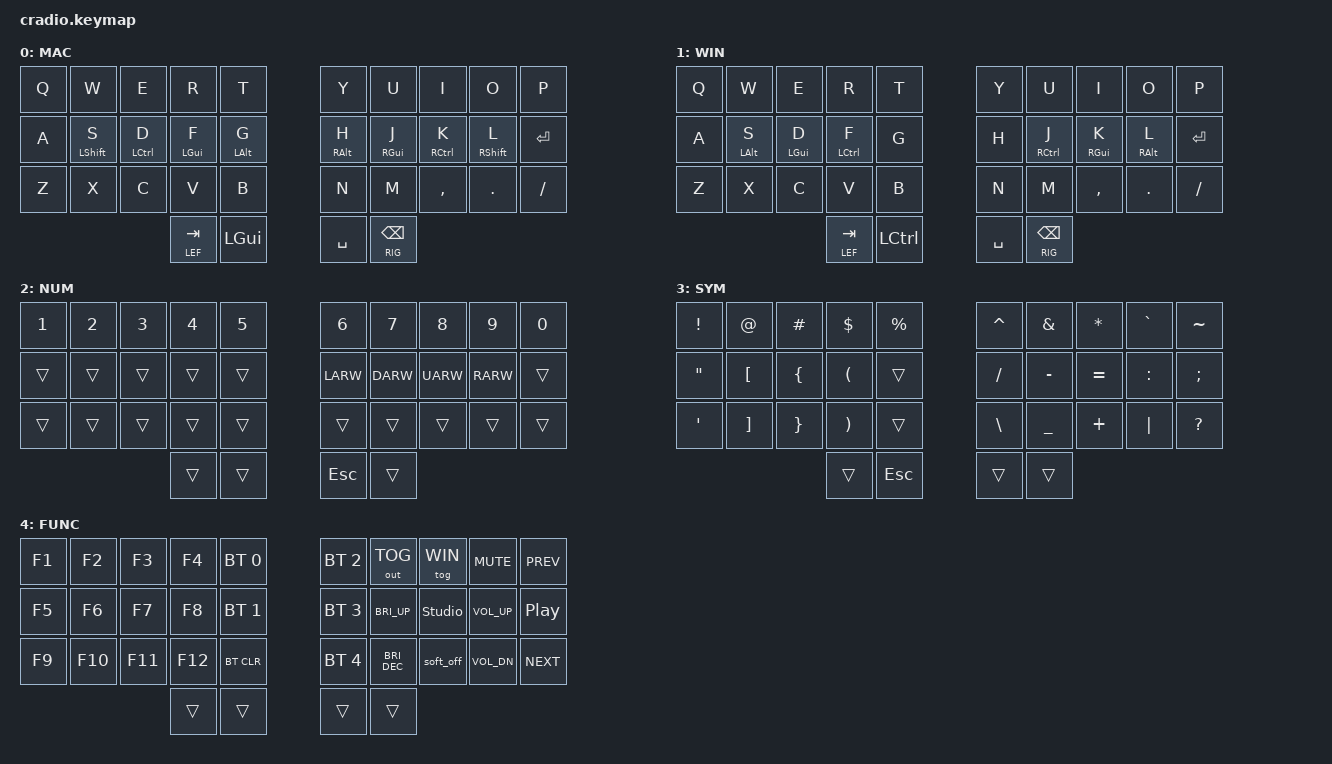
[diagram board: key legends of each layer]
// Copyright (c) 2022 The ZMK Contributors
// SPDX-License-Identifier: MIT

#include <behaviors.dtsi>
#include <dt-bindings/zmk/bt.h>
#include <dt-bindings/zmk/keys.h>
#include <dt-bindings/zmk/outputs.h>

#define MAC 0
#define WIN 1
#define LEF 2
#define RIG 3
#define TRI 4


// https://zmk.dev/docs/development/hardware-integration/soft-off-setup?advanced-methods=wakeup&kscan-type=dkscan
/ {
    keys {
        compatible = "gpio-keys";
        soft_off_gpio_key: soft_off_gpio_key {
            gpios = <&gpio1 6 (GPIO_ACTIVE_LOW | GPIO_PULL_UP)>;
        };
    };
    wakeup_scan: wakeup_scan {
        compatible = "zmk,kscan-gpio-direct";
        input-keys = <&soft_off_gpio_key>;
        wakeup-source;
    };
    side_band_behavior_triggers: side_band_behavior_triggers {
        compatible = "zmk,kscan-sideband-behaviors";
        kscan = <&wakeup_scan>;
        auto-enable;
        wakeup-source;
    };
    soft_off_wakers {
        compatible = "zmk,soft-off-wakeup-sources";
        wakeup-sources = <&wakeup_scan>;
    };
};

/ {
    chosen {
        zmk,charmap = &charmap_us;
    };
    behaviors {
        ht: hold_tap {
            display-name = "hold_tap";
            compatible = "zmk,behavior-hold-tap";
            #binding-cells = <2>;
            flavor = "balanced";
            tapping-term-ms = <200>;
            quick-tap-ms = <150>;
            bindings = <&kp>, <&kp>;
        };
        mmv {
            acceleration-exponent = <1>;      // 1
            time-to-max-speed-ms = <300>;     // 40
            delay-ms = <0>;                   // 0
        };
        msc {
            acceleration-exponent = <0>;      // 0
            time-to-max-speed-ms = <40>;      // 500
            delay-ms = <0>;                   // 10
        };
    };

    conditional_layers {
        compatible = "zmk,conditional-layers";

        tri_layer {
            if-layers = <RIG LEF>;
            then-layer = <TRI>;
        };
    };

    keymap {
        compatible = "zmk,keymap";

        default_layer {
            display-name = "MAC";
            bindings = <
        //╭──────────┬──────────┬──────────┬──────────┬──────────╮   ╭──────────┬──────────┬──────────┬──────────┬──────────╮
        //│    Q     │    W     │    E     │    R     │    T     │   │    Y     │    U     │    I     │    O     │    P     │
             &kp Q      &kp W      &kp E      &kp R      &kp T          &kp Y      &kp U      &kp I      &kp O      &kp P
        //├──────────┼──────────┼──────────┼──────────┼──────────┤   ├──────────┼──────────┼──────────┼──────────┼──────────┤
        //│    A     │    S     │    D     │    F     │    G     │   │    H     │    J     │    K     │    L     │  ENTER   │
            &kp A   &ht LSHIFT S &ht LCTRL D &ht LGUI F &ht LALT G   &ht RALT H  &ht RGUI J &ht RCTRL K &ht RSHIFT L &kp ENTER
        //├──────────┼──────────┼──────────┼──────────┼──────────┤   ├──────────┼──────────┼──────────┼──────────┼──────────┤
        //│    Z     │    X     │    C     │    V     │    B     │   │    N     │    M     │   , <    │   . >    │    /     │
             &kp Z      &kp X      &kp C      &kp V      &kp B          &kp N      &kp M      &kp COMMA  &kp DOT   &kp FSLH
        //╰──────────┴──────────┴──────────┼──────────┼──────────┤   ├──────────┼──────────┼──────────┴──────────┴──────────╯
                                           &lt LEF TAB  &kp LGUI     &kp SPACE  &lt RIG BSPC
        //                                 ╰──────────┴──────────╯   ╰──────────┴──────────╯
            >;
        };

        windows_layer {
            display-name = "WIN";
            bindings = <
        //╭──────────┬──────────┬──────────┬──────────┬──────────╮   ╭──────────┬──────────┬──────────┬──────────┬──────────╮
        //│    Q     │    W     │    E     │    R     │    T     │   │    Y     │    U     │    I     │    O     │    P     │
             &kp Q      &kp W      &kp E      &kp R      &kp T          &kp Y      &kp U      &kp I      &kp O      &kp P
        //├──────────┼──────────┼──────────┼──────────┼──────────┤   ├──────────┼──────────┼──────────┼──────────┼──────────┤
        //│    A     │    S     │    D     │    F     │    G     │   │    H     │    J     │    K     │    L     │  ENTER   │
             &kp A    &ht LALT S &ht LGUI D &ht LCTRL F  &kp G          &kp H   &ht RCTRL J &ht RGUI K &ht RALT L  &kp ENTER
        //├──────────┼──────────┼──────────┼──────────┼──────────┤   ├──────────┼──────────┼──────────┼──────────┼──────────┤
        //│    Z     │    X     │    C     │    V     │    B     │   │    N     │    M     │   , <    │   . >    │     /    │
             &kp Z      &kp X      &kp C      &kp V      &kp B          &kp N      &kp M      &kp COMMA  &kp DOT   &kp FSLH
        //╰──────────┴──────────┴──────────┼──────────┼──────────┤   ├──────────┼──────────┼──────────┴──────────┴──────────╯
                                           &lt LEF TAB &kp LCTRL     &kp SPACE  &lt RIG BSPC
        //                                 ╰──────────┴──────────╯   ╰──────────┴──────────╯
            >;
        };

        left_layer {
            display-name = "NUM";
            bindings = <
        //╭──────────┬──────────┬──────────┬──────────┬──────────╮   ╭──────────┬──────────┬──────────┬──────────┬──────────╮
        //│    1     │    2     │    3     │    4     │    5     │   │    6     │    7     │    8     │    9     │    0     │
            &kp N1      &kp N2     &kp N3     &kp N4     &kp N5        &kp N6     &kp N7     &kp N8     &kp N9      &kp N0
        //├──────────┼──────────┼──────────┼──────────┼──────────┤   ├──────────┼──────────┼──────────┼──────────┼──────────┤
        //│          │          │          │          │          │   │   LEFT   │   DOWN   │    UP    │  RIGHT   │          │
            &trans      &trans     &trans     &trans     &trans        &kp LARW   &kp DARW   &kp UARW   &kp RARW    &trans
        //├──────────┼──────────┼──────────┼──────────┼──────────┤   ├──────────┼──────────┼──────────┼──────────┼──────────┤
        //│          │          │          │          │          │   │          │          │          │          │          │
            &trans      &trans     &trans     &trans     &trans        &trans     &trans     &trans     &trans     &trans
        //╰──────────┴──────────┴──────────┼──────────┼──────────┤   ├──────────┼──────────┼──────────┴──────────┴──────────╯
                                             &trans      &trans        &kp ESC    &trans
        //                                 ╰──────────┴──────────╯   ╰──────────┴──────────╯
            >;
        };

        right_layer {
            display-name = "SYM";
            bindings = <
        //╭──────────┬──────────┬──────────┬──────────┬──────────╮   ╭──────────┬──────────┬──────────┬──────────┬──────────╮
        //│    !     │    @     │    #     │    $     │    %     │   │    ^     │    &     │    *     │    `     │    ~     │
             &kp EXCL   &kp AT    &kp HASH   &kp DLLR   &kp PRCNT      &kp CARET  &kp AMPS  &kp ASTRK  &kp GRAVE  &kp TILDE
        //├──────────┼──────────┼──────────┼──────────┼──────────┤   ├──────────┼──────────┼──────────┼──────────┼──────────┤
        //│    "     │    [     │    {     │    (     │          │   │    /     │    -     │    =     │    :     │    ;     │
            &kp DQT    &kp LBKT   &kp LBRC   &kp LPAR   &trans        &kp FSLH   &kp MINUS  &kp EQUAL  &kp COLON  &kp SEMI
        //├──────────┼──────────┼──────────┼──────────┼──────────┤   ├──────────┼──────────┼──────────┼──────────┼──────────┤
        //│    '     │    ]     │    }     │    )     │          │   │    \     │    _     │    +     │    |     │    ?     │
            &kp SQT   &kp RBKT    &kp RBRC   &kp RPAR   &trans        &kp BSLH   &kp UNDER  &kp PLUS   &kp PIPE   &kp QMARK
        //╰──────────┴──────────┴──────────┼──────────┼──────────┤   ├──────────┼──────────┼──────────┴──────────┴──────────╯
                                              &trans    &kp ESC        &trans      &trans
        //                                 ╰──────────┴──────────╯   ╰──────────┴──────────╯
            >;
        };

        tri_layer {
            display-name = "FUNC";
            bindings = <
        //╭──────────┬──────────┬──────────┬───────────┬────────────╮   ╭────────────┬────────────┬──────────┬───────────┬──────────╮
        //│    F1    │    F2    │    F3    │    F4     │ PROFILE 0  │   │ PROFILE 2  │ TOGGLEOUT  │ WINDOWS  │ VOL MUTE  │ PREVSONG │
            &kp F1     &kp F2     &kp F3     &kp F4     &bt BT_SEL 0    &bt BT_SEL 2  &out OUT_TOG &tog WIN  &kp C_MUTE  &kp C_PREV
        //├──────────┼──────────┼──────────┼───────────┼────────────┤   ├────────────┼────────────┼──────────┼───────────┼──────────┤
        //│    F5    │    F6    │    F7    │    F8     │ PROFILE 1  │   │ PROFILE 3  │ INC BRIGHT │  STUDIO  │  VOL UP   │PAUSEMUSIC│
            &kp F5     &kp F6     &kp F7     &kp F8     &bt BT_SEL 1    &bt BT_SEL 3 &kp C_BRI_UP &studio_unlock &kp C_VOL_UP  &kp C_PP
        //├──────────┼──────────┼──────────┼───────────┼────────────┤   ├────────────┼────────────┼──────────┼───────────┼──────────┤
        //│    F9    │   F10    │   F11    │    F12    │  CLEAR BT  │   │ PROFILE 4  │ DEC BRIGHT │   SOFT   │ VOL DOWN  │ NEXTSONG │
            &kp F9     &kp F10    &kp F11    &kp F12    &bt BT_CLR      &bt BT_SEL 4  &kp C_BRI_DEC &soft_off &kp C_VOL_DN &kp C_NEXT
        //╰──────────┴──────────┴──────────┼───────────┼────────────┤   ├────────────┼────────────┼──────────┴───────────┴──────────╯
                                             &trans     &trans           &trans        &trans
        //                                 ╰───────────┴────────────╯   ╰────────────┴────────────╯
            >;
        };
    };
};
